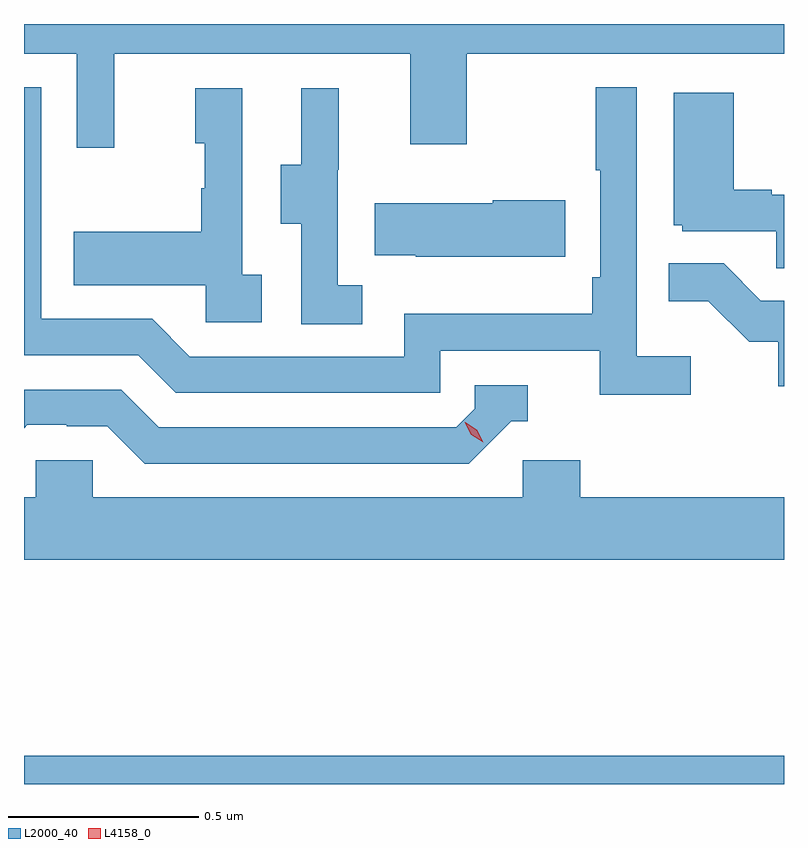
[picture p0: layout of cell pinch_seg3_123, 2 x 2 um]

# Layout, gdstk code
import gdstk
lib = gdstk.Library(unit=1e-6, precision=1e-09)
def R(c, l, rs):  # rectangles x0, y0, x1, y1
    for r in rs: c.add(gdstk.rectangle(r[:2], r[2:], *l))
def P(c, l, *ps):  # polygons
    for p in ps: c.add(gdstk.Polygon(p, *l))
L2000_40 = (2000, 40)
L4158_0 = (4158, 0)

pinch_seg3_123 = lib.new_cell('pinch_seg3_123')
R(pinch_seg3_123, L2000_40, [(1080.05,713.646,1082.05,713.72)])
P(pinch_seg3_123, L2000_40, [(1080.05,715.568),(1080.189,715.568),(1080.189,715.32),(1080.287,715.32),(1080.287,715.568),(1081.067,715.568),(1081.067,715.329),(1081.215,715.329),(1081.215,715.568),(1082.05,715.568),(1082.05,715.646),(1080.05,715.646)],
  [(1081.804,714.772),(1081.662,714.772),(1081.662,715.48),(1081.554,715.48),(1081.554,715.261),(1081.566,715.261),(1081.566,714.979),(1081.546,714.979),(1081.546,714.883),(1081.05,714.883),(1081.05,714.771),(1080.486,714.771),(1080.387,714.87),(1080.096,714.87),(1080.096,715.479),(1080.05,715.479),(1080.05,714.774),(1080.35,714.774),(1080.449,714.675),(1081.146,714.675),(1081.146,714.786),(1081.565,714.786),(1081.565,714.67),(1081.804,714.67)],
  [(1080.94,714.959),(1080.876,714.959),(1080.876,715.263),(1080.878,715.263),(1080.878,715.477),(1080.779,715.477),(1080.779,715.275),(1080.725,715.275),(1080.725,715.12),(1080.78,715.12),(1080.78,714.856),(1080.94,714.856)],
  [(1080.676,714.986),(1080.624,714.986),(1080.624,715.477),(1080.5,715.477),(1080.5,715.332),(1080.526,715.332),(1080.526,715.214),(1080.516,715.214),(1080.516,715.099),(1080.181,715.099),(1080.181,714.959),(1080.528,714.959),(1080.528,714.861),(1080.676,714.861)],
  [(1082.05,715.197),(1082.018,715.197),(1082.018,715.21),(1081.918,715.21),(1081.918,715.465),(1081.76,715.465),(1081.76,715.116),(1081.782,715.116),(1081.782,715.101),(1082.029,715.101),(1082.029,715.003),(1082.05,715.003)],
  [(1081.474,715.182),(1081.283,715.182),(1081.283,715.174),(1080.973,715.174),(1080.973,715.037),(1081.081,715.037),(1081.081,715.034),(1081.474,715.034)],
  [(1082.05,714.918),(1081.989,714.918),(1081.891,715.016),(1081.747,715.016),(1081.747,714.917),(1081.851,714.917),(1081.958,714.81),(1082.035,714.81),(1082.035,714.693),(1082.05,714.693)],
  [(1081.332,714.6),(1081.375,714.6),(1081.375,714.696),(1081.236,714.696),(1081.236,714.633),(1081.188,714.585),(1080.405,714.585),(1080.306,714.684),(1080.05,714.684),(1080.05,714.582),(1080.059,714.591),(1080.162,714.591),(1080.162,714.588),(1080.269,714.588),(1080.368,714.489),(1081.221,714.489)],
  [(1082.05,714.4),(1081.514,714.4),(1081.514,714.498),(1081.362,714.498),(1081.362,714.4),(1080.231,714.4),(1080.231,714.498),(1080.081,714.498),(1080.081,714.4),(1080.05,714.4),(1080.05,714.236),(1082.05,714.236)])
P(pinch_seg3_123, L4158_0, [(1081.258,714.546),(1081.227,714.565),(1081.21,714.598),(1081.21,714.598),(1081.211,714.598),(1081.242,714.578),(1081.258,714.546),(1081.258,714.546)])

lib.write_gds('pinch_seg3_123.gds')
